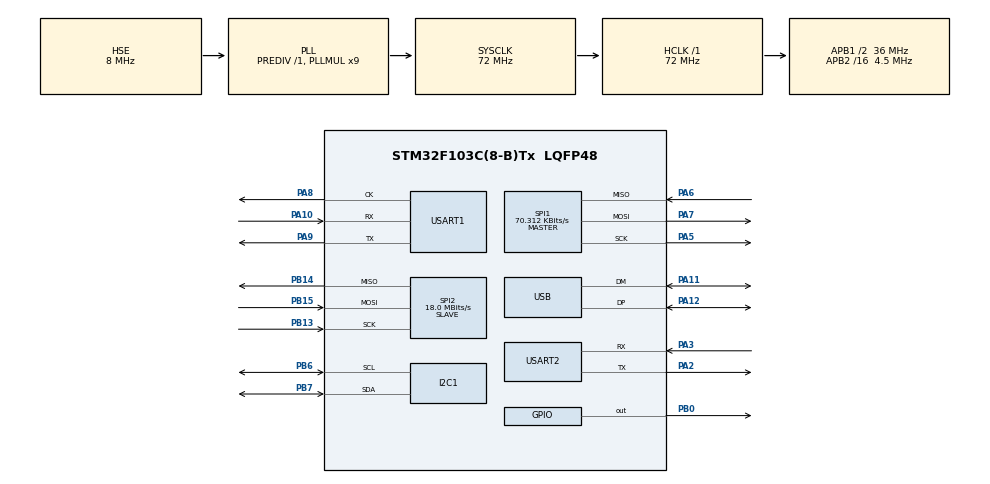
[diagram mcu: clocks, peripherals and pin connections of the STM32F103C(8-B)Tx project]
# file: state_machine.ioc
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Mcu.Family=STM32F1
Mcu.Name=STM32F103C(8-B)Tx
Mcu.Package=LQFP48
NVIC.PriorityGroup=NVIC_PRIORITYGROUP_4
NVIC.USB_LP_CAN1_RX0_IRQn=true\:0\:0\:false\:false\:true\:false
PA10.Mode=Synchronous
PA10.Signal=USART1_RX
PA11.Mode=Device
PA11.Signal=USB_DM
PA12.Mode=Device
PA12.Signal=USB_DP
PA13.Mode=Serial_Wire
PA13.Signal=SYS_JTMS-SWDIO
PA14.Mode=Serial_Wire
PA14.Signal=SYS_JTCK-SWCLK
PA2.Mode=Asynchronous
PA2.Signal=USART2_TX
PA3.Mode=Asynchronous
PA3.Signal=USART2_RX
PA5.Mode=Full_Duplex_Master
PA5.Signal=SPI1_SCK
PA6.Mode=Full_Duplex_Master
PA6.Signal=SPI1_MISO
PA7.GPIO_Speed=GPIO_SPEED_FREQ_HIGH
PA7.Mode=Full_Duplex_Master
PA7.Signal=SPI1_MOSI
PA8.Mode=Synchronous
PA8.Signal=USART1_CK
PA9.Mode=Synchronous
PA9.Signal=USART1_TX
PB0.Signal=GPIO_Output
PB13.Mode=Full_Duplex_Slave
PB13.Signal=SPI2_SCK
PB14.Mode=Full_Duplex_Slave
PB14.Signal=SPI2_MISO
PB15.Mode=Full_Duplex_Slave
PB15.Signal=SPI2_MOSI
PB6.Mode=I2C
PB6.Signal=I2C1_SCL
PB7.Mode=I2C
PB7.Signal=I2C1_SDA
PD0-OSC_IN.Mode=HSE-External-Oscillator
PD0-OSC_IN.Signal=RCC_OSC_IN
PD1-OSC_OUT.Mode=HSE-External-Oscillator
PD1-OSC_OUT.Signal=RCC_OSC_OUT
ProjectManager.HeapSize=0x200
ProjectManager.StackSize=0x400
ProjectManager.TargetToolchain=SW4STM32
RCC.AHBFreq_Value=72000000
RCC.APB1CLKDivider=RCC_HCLK_DIV2
RCC.APB1Freq_Value=36000000
RCC.APB1TimFreq_Value=72000000
RCC.APB2CLKDivider=RCC_HCLK_DIV16
RCC.APB2Freq_Value=4500000
RCC.APB2TimFreq_Value=9000000
RCC.HCLKFreq_Value=72000000
RCC.PLLMUL=RCC_PLL_MUL9
RCC.SYSCLKFreq_VALUE=72000000
RCC.SYSCLKSource=RCC_SYSCLKSOURCE_PLLCLK
RCC.USBFreq_Value=48000000
RCC.USBPrescaler=RCC_USBCLKSOURCE_PLL_DIV1_5
SPI1.BaudRatePrescaler=SPI_BAUDRATEPRESCALER_64
SPI1.CalculateBaudRate=70.312 KBits/s
SPI1.Direction=SPI_DIRECTION_2LINES
SPI1.Mode=SPI_MODE_MASTER
SPI1.VirtualType=VM_MASTER
SPI2.CalculateBaudRate=18.0 MBits/s
SPI2.Direction=SPI_DIRECTION_2LINES
SPI2.Mode=SPI_MODE_SLAVE
SPI2.VirtualType=VM_SLAVE
USART1.VirtualMode=VM_SYNC
USART2.VirtualMode=VM_ASYNC
USB_DEVICE.CLASS_NAME_FS=CDC
USB_DEVICE.VirtualMode=Cdc
USB_DEVICE.VirtualModeFS=Cdc_FS
VP_USB_DEVICE_VS_USB_DEVICE_CDC_FS.Mode=CDC_FS
board=custom

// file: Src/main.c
/**
  ******************************************************************************
  * @file           : main.c
  * @brief          : Main program body
  ******************************************************************************
  * This notice applies to any and all portions of this file
  * that are not between comment pairs USER CODE BEGIN and
  * USER CODE END. Other portions of this file, whether
  * inserted by the user or by software development tools
  * are owned by their respective copyright owners.
  *
  * Copyright (c) 2018 STMicroelectronics International N.V.
  * All rights reserved.
  *
  * Redistribution and use in source and binary forms, with or without
  * modification, are permitted, provided that the following conditions are met:
  *
  * 1. Redistribution of source code must retain the above copyright notice,
  *    this list of conditions and the following disclaimer.
  * 2. Redistributions in binary form must reproduce the above copyright notice,
  *    this list of conditions and the following disclaimer in the documentation
  *    and/or other materials provided with the distribution.
  * 3. Neither the name of STMicroelectronics nor the names of other
  *    contributors to this software may be used to endorse or promote products
  *    derived from this software without specific written permission.
  * 4. This software, including modifications and/or derivative works of this
  *    software, must execute solely and exclusively on microcontroller or
  *    microprocessor devices manufactured by or for STMicroelectronics.
  * 5. Redistribution and use of this software other than as permitted under
  *    this license is void and will automatically terminate your rights under
  *    this license.
  *
  * THIS SOFTWARE IS PROVIDED BY STMICROELECTRONICS AND CONTRIBUTORS "AS IS"
  * AND ANY EXPRESS, IMPLIED OR STATUTORY WARRANTIES, INCLUDING, BUT NOT
  * LIMITED TO, THE IMPLIED WARRANTIES OF MERCHANTABILITY, FITNESS FOR A
  * PARTICULAR PURPOSE AND NON-INFRINGEMENT OF THIRD PARTY INTELLECTUAL PROPERTY
  * RIGHTS ARE DISCLAIMED TO THE FULLEST EXTENT PERMITTED BY LAW. IN NO EVENT
  * SHALL STMICROELECTRONICS OR CONTRIBUTORS BE LIABLE FOR ANY DIRECT, INDIRECT,
  * INCIDENTAL, SPECIAL, EXEMPLARY, OR CONSEQUENTIAL DAMAGES (INCLUDING, BUT NOT
  * LIMITED TO, PROCUREMENT OF SUBSTITUTE GOODS OR SERVICES; LOSS OF USE, DATA,
  * OR PROFITS; OR BUSINESS INTERRUPTION) HOWEVER CAUSED AND ON ANY THEORY OF
  * LIABILITY, WHETHER IN CONTRACT, STRICT LIABILITY, OR TORT (INCLUDING
  * NEGLIGENCE OR OTHERWISE) ARISING IN ANY WAY OUT OF THE USE OF THIS SOFTWARE,
  * EVEN IF ADVISED OF THE POSSIBILITY OF SUCH DAMAGE.
  *
  ******************************************************************************
  */
#include "main.h"
#include "stm32f1xx_hal.h"
#include "usb_device.h"

/* USER CODE BEGIN Includes */
#include "usbd_cdc_if.h"
#include "execute.h"

/* USER CODE END Includes */

I2C_HandleTypeDef hi2c1;

SPI_HandleTypeDef hspi1;
SPI_HandleTypeDef hspi2;

USART_HandleTypeDef husart1;
UART_HandleTypeDef huart2;

/* USER CODE BEGIN PV */
/* Private variables ---------------------------------------------------------*/

/* USER CODE END PV */

void SystemClock_Config(void);
static void MX_GPIO_Init(void);
static void MX_SPI1_Init(void);
static void MX_SPI2_Init(void);
static void MX_I2C1_Init(void);
static void MX_USART1_Init(void);
static void MX_USART2_UART_Init(void);

/* USER CODE BEGIN PFP */
/* Private function prototypes -----------------------------------------------*/
static void MX_SPI_Init(SPI_TypeDef * SPI,int Mode,int Direction,int DataSize,\
		int Polarity,int Phase,int Nss,int Baudrate,int Firstbit,\
		int Spi_Crc);
static void MX_I2C_Init(I2C_TypeDef* I2c,int clockSpeed,int DutyCycle,int AddrMode,int DualAddrMode,\
			int GenCallMode,int NoStrectch);
static void MX_USART_Init(USART_TypeDef* usart,int Baudrate,int Wordlength,int StopBit,\
		int Parity,int Mode\
		,int clkPolarity,int clkPhase,int lastbit);
/* USER CODE END PFP */

/* USER CODE BEGIN 0 */
uint8_t  txBuffer[] ={0x10,0x20,0x30,0x40};
uint8_t  slavetxBuffer[] ={144,0,0,0,0,0};
uint8_t  rxBuffer[20];
uint8_t  slaverxBuffer[4];

/* USER CODE END 0 */

int main(void)
{
  /* USER CODE BEGIN 1 */

	initialise_monitor_handles();

  /* USER CODE END 1 */

  /* MCU Configuration----------------------------------------------------------*/

  /* Reset of all peripherals, Initializes the Flash interface and the Systick. */
  HAL_Init();

  /* Configure the system clock */
  SystemClock_Config();

  /* Initialize all configured peripherals */
  MX_GPIO_Init();
  MX_USB_DEVICE_Init();
  MX_SPI1_Init();
  MX_SPI2_Init();
  MX_I2C1_Init();
  MX_USART1_Init();
  MX_USART2_UART_Init();

  /* Infinite loop */
  /* USER CODE BEGIN WHILE */
  uint8_t value=20;

  while (1)
  {

  /* USER CODE END WHILE */

  /* USER CODE BEGIN 3 */
	  char* result;
	  char* trans;

	  char* type;

	 // HAL_I2C_Master_Transmit(&hi2c1, (0x50<<1), &value, 2,500);

	  HAL_GPIO_WritePin(GPIOB, GPIO_PIN_0, GPIO_PIN_SET);
	  HAL_Delay(30);

		  result = &data;

		  while(dataReady == 1){
			  trans=malloc(10);

			  type= parseAndCompareTable(&result);

			  if(type =="SpiConfig"){
				  MX_SPI_Init(SPI1,spi1Config.Mode,spi1Config.Direction,spi1Config.DataSize,\
						  spi1Config.CLKPolarity,spi1Config.CLKPhase,spi1Config.NSS,spi1Config.BaudRatePrescaler,spi1Config.FirstBit,\
						  spi1Config.CRCCalculation);
			  }
				if(type =="I2cConfig"){
					MX_I2C_Init(I2C1,I2cConfig.ClockSpeed,I2cConfig.DutyCycle,I2cConfig.AddressingMode,I2cConfig.DualAddressMode,\
							I2cConfig.GeneralCallMode,I2cConfig.NoStretchMode);
				}

				if(type =="UsartConfig"){
					 MX_USART_Init(USART1,UsartConfig.BaudRate,UsartConfig.WordLength,UsartConfig.StopBit,\
							UsartConfig.Parity\
							,UsartConfig.Mode,UsartConfig.ClkPolarity,UsartConfig.ClkPhase,UsartConfig.clkLastBit);
				}
			  if(type == "SpiWrite"){
				  HAL_GPIO_WritePin(GPIOB, GPIO_PIN_0, GPIO_PIN_RESET);
					HAL_SPI_TransmitReceive(&hspi1,Send.value,rxBuffer,Send.total,500);
					  trans = getHexString(trans,rxBuffer,Send.total);
			  }
			  if(type == "I2cWrite"){
				  HAL_I2C_Master_Transmit(&hi2c1, I2cV.address, I2cV.value, I2cV.total,500);
			  }
			  if(type == "I2CMemWrite"){
				  HAL_I2C_Mem_Write(&hi2c1,(MemWrite.address<<1),MemWrite.MemAddr,I2C_MEMADD_SIZE_8BIT, &(MemWrite.value),I2C_MEMADD_SIZE_8BIT,500);
			  }
			  if(type =="I2CMemRead"){
				  HAL_I2C_Mem_Read(&hi2c1,(MemRead.address<<1), MemRead.MemAddr,I2C_MEMADD_SIZE_8BIT, slaverxBuffer, 5, 500);
				  sprintf(trans,"%x",slaverxBuffer);
			  }
			  if(type == "UsartSend"){
				 // HAL_USART_TransmitReceive(&huart2, UartV.value,rxBuffer,UartV.total, 500);
				  HAL_UART_Transmit(&huart2, UartV.value,UartV.total, 500);
				  //HAL_Delay(10);
				  HAL_UART_Receive(&huart2, rxBuffer,10, 500);
				  trans = getHexString(trans,rxBuffer,UartV.total);

			  }
			  if(type == "UsartRead"){
				  HAL_USART_Receive(&husart1,rxBuffer,10,500);
				  trans = getHexString(trans,rxBuffer,10);

			  }
			  CDC_Transmit_FS(trans,strlen(trans));
		  		free(trans);
		  		dataReady = 0;
		  		dataNum=0;
		  		memset(data,0,100);
		  		memset(input,0,100);

		  	}

//		  HAL_GPIO_WritePin(GPIOB, GPIO_PIN_0, GPIO_PIN_RESET);

		 // HAL_USART_Transmit(&husart1,UartV.value,UartV.total,500);

  }
  /* USER CODE END 3 */

}

void SystemClock_Config(void)
{

  RCC_OscInitTypeDef RCC_OscInitStruct;
  RCC_ClkInitTypeDef RCC_ClkInitStruct;
  RCC_PeriphCLKInitTypeDef PeriphClkInit;

    /**Initializes the CPU, AHB and APB busses clocks
    */
  RCC_OscInitStruct.OscillatorType = RCC_OSCILLATORTYPE_HSE;
  RCC_OscInitStruct.HSEState = RCC_HSE_ON;
  RCC_OscInitStruct.HSEPredivValue = RCC_HSE_PREDIV_DIV1;
  RCC_OscInitStruct.HSIState = RCC_HSI_ON;
  RCC_OscInitStruct.PLL.PLLState = RCC_PLL_ON;
  RCC_OscInitStruct.PLL.PLLSource = RCC_PLLSOURCE_HSE;
  RCC_OscInitStruct.PLL.PLLMUL = RCC_PLL_MUL9;
  if (HAL_RCC_OscConfig(&RCC_OscInitStruct) != HAL_OK)
  {
    _Error_Handler(__FILE__, __LINE__);
  }

    /**Initializes the CPU, AHB and APB busses clocks
    */
  RCC_ClkInitStruct.ClockType = RCC_CLOCKTYPE_HCLK|RCC_CLOCKTYPE_SYSCLK
                              |RCC_CLOCKTYPE_PCLK1|RCC_CLOCKTYPE_PCLK2;
  RCC_ClkInitStruct.SYSCLKSource = RCC_SYSCLKSOURCE_PLLCLK;
  RCC_ClkInitStruct.AHBCLKDivider = RCC_SYSCLK_DIV1;
  RCC_ClkInitStruct.APB1CLKDivider = RCC_HCLK_DIV2;
  RCC_ClkInitStruct.APB2CLKDivider = RCC_HCLK_DIV16;

  if (HAL_RCC_ClockConfig(&RCC_ClkInitStruct, FLASH_LATENCY_2) != HAL_OK)
  {
    _Error_Handler(__FILE__, __LINE__);
  }

  PeriphClkInit.PeriphClockSelection = RCC_PERIPHCLK_USB;
  PeriphClkInit.UsbClockSelection = RCC_USBCLKSOURCE_PLL_DIV1_5;
  if (HAL_RCCEx_PeriphCLKConfig(&PeriphClkInit) != HAL_OK)
  {
    _Error_Handler(__FILE__, __LINE__);
  }

    /**Configure the Systick interrupt time
    */
  HAL_SYSTICK_Config(HAL_RCC_GetHCLKFreq()/1000);

    /**Configure the Systick
    */
  HAL_SYSTICK_CLKSourceConfig(SYSTICK_CLKSOURCE_HCLK);

  /* SysTick_IRQn interrupt configuration */
  HAL_NVIC_SetPriority(SysTick_IRQn, 0, 0);
}

/* I2C1 init function */
static void MX_I2C1_Init(void)
{

  hi2c1.Instance = I2C1;
  hi2c1.Init.ClockSpeed = 100000;
  hi2c1.Init.DutyCycle = I2C_DUTYCYCLE_2;
  hi2c1.Init.OwnAddress1 = 0;
  hi2c1.Init.AddressingMode = I2C_ADDRESSINGMODE_7BIT;
  hi2c1.Init.DualAddressMode = I2C_DUALADDRESS_DISABLE;
  hi2c1.Init.OwnAddress2 = 0;
  hi2c1.Init.GeneralCallMode = I2C_GENERALCALL_DISABLE;
  hi2c1.Init.NoStretchMode = I2C_NOSTRETCH_DISABLE;
  if (HAL_I2C_Init(&hi2c1) != HAL_OK)
  {
    _Error_Handler(__FILE__, __LINE__);
  }

}

/* SPI1 init function */
static void MX_SPI1_Init(void)
{

  /* SPI1 parameter configuration*/
  hspi1.Instance = SPI1;
  hspi1.Init.Mode = SPI_MODE_MASTER;
  hspi1.Init.Direction = SPI_DIRECTION_2LINES;
  hspi1.Init.DataSize = SPI_DATASIZE_8BIT;
  hspi1.Init.CLKPolarity = SPI_POLARITY_LOW;
  hspi1.Init.CLKPhase = SPI_PHASE_1EDGE;
  hspi1.Init.NSS = SPI_NSS_SOFT;
  hspi1.Init.BaudRatePrescaler = SPI_BAUDRATEPRESCALER_64;
  hspi1.Init.FirstBit = SPI_FIRSTBIT_MSB;
  hspi1.Init.TIMode = SPI_TIMODE_DISABLE;
  hspi1.Init.CRCCalculation = SPI_CRCCALCULATION_DISABLE;
  hspi1.Init.CRCPolynomial = 10;
  if (HAL_SPI_Init(&hspi1) != HAL_OK)
  {
    _Error_Handler(__FILE__, __LINE__);
  }

}

/* SPI2 init function */
static void MX_SPI2_Init(void)
{

  /* SPI2 parameter configuration*/
  hspi2.Instance = SPI2;
  hspi2.Init.Mode = SPI_MODE_SLAVE;
  hspi2.Init.Direction = SPI_DIRECTION_2LINES;
  hspi2.Init.DataSize = SPI_DATASIZE_8BIT;
  hspi2.Init.CLKPolarity = SPI_POLARITY_LOW;
  hspi2.Init.CLKPhase = SPI_PHASE_1EDGE;
  hspi2.Init.NSS = SPI_NSS_SOFT;
  hspi2.Init.BaudRatePrescaler = SPI_BAUDRATEPRESCALER_2;
  hspi2.Init.FirstBit = SPI_FIRSTBIT_MSB;
  hspi2.Init.TIMode = SPI_TIMODE_DISABLE;
  hspi2.Init.CRCCalculation = SPI_CRCCALCULATION_DISABLE;
  hspi2.Init.CRCPolynomial = 10;
  if (HAL_SPI_Init(&hspi2) != HAL_OK)
  {
    _Error_Handler(__FILE__, __LINE__);
  }

}

/* USART1 init function */
static void MX_USART1_Init(void)
{

  husart1.Instance = USART1;
  husart1.Init.BaudRate = 115200;
  husart1.Init.WordLength = USART_WORDLENGTH_8B;
  husart1.Init.StopBits = USART_STOPBITS_1;
  husart1.Init.Parity = USART_PARITY_NONE;
  husart1.Init.Mode = USART_MODE_TX_RX;
  husart1.Init.CLKPolarity = USART_POLARITY_LOW;
  husart1.Init.CLKPhase = USART_PHASE_1EDGE;
  husart1.Init.CLKLastBit = USART_LASTBIT_DISABLE;
  if (HAL_USART_Init(&husart1) != HAL_OK)
  {
    _Error_Handler(__FILE__, __LINE__);
  }

}

/* USART2 init function */
static void MX_USART2_UART_Init(void)
{

  huart2.Instance = USART2;
  huart2.Init.BaudRate = 115200;
  huart2.Init.WordLength = UART_WORDLENGTH_8B;
  huart2.Init.StopBits = UART_STOPBITS_1;
  huart2.Init.Parity = UART_PARITY_NONE;
  huart2.Init.Mode = UART_MODE_TX_RX;
  huart2.Init.HwFlowCtl = UART_HWCONTROL_NONE;
  huart2.Init.OverSampling = UART_OVERSAMPLING_16;
  if (HAL_UART_Init(&huart2) != HAL_OK)
  {
    _Error_Handler(__FILE__, __LINE__);
  }

}

/** Configure pins as
        * Analog
        * Input
        * Output
        * EVENT_OUT
        * EXTI
*/
static void MX_GPIO_Init(void)
{

  GPIO_InitTypeDef GPIO_InitStruct;

  /* GPIO Ports Clock Enable */
  __HAL_RCC_GPIOD_CLK_ENABLE();
  __HAL_RCC_GPIOA_CLK_ENABLE();
  __HAL_RCC_GPIOB_CLK_ENABLE();

  /*Configure GPIO pin Output Level */
  HAL_GPIO_WritePin(GPIOB, GPIO_PIN_0, GPIO_PIN_RESET);

  /*Configure GPIO pin : PB0 */
  GPIO_InitStruct.Pin = GPIO_PIN_0;
  GPIO_InitStruct.Mode = GPIO_MODE_OUTPUT_PP;
  GPIO_InitStruct.Pull = GPIO_NOPULL;
  GPIO_InitStruct.Speed = GPIO_SPEED_FREQ_LOW;
  HAL_GPIO_Init(GPIOB, &GPIO_InitStruct);

}

/* USER CODE BEGIN 4 */
static void MX_SPI_Init(SPI_TypeDef * SPI,int Mode,int Direction,int DataSize,\
		int Polarity,int Phase,int Nss,int Baudrate,int Firstbit,\
		int Spi_Crc)
{

  /* SPI1 parameter configuration*/
  hspi1.Instance = SPI;
  hspi1.Init.Mode = Mode;
  hspi1.Init.Direction = Direction;
  hspi1.Init.DataSize = DataSize;
  hspi1.Init.CLKPolarity = Polarity;
  hspi1.Init.CLKPhase = Phase;
  hspi1.Init.NSS = Nss;
  hspi1.Init.BaudRatePrescaler = Baudrate;
  hspi1.Init.FirstBit = Firstbit;
  hspi1.Init.TIMode = SPI_TIMODE_DISABLE;
  hspi1.Init.CRCCalculation = Spi_Crc;
  hspi1.Init.CRCPolynomial = 10;
  if (HAL_SPI_Init(&hspi1) != HAL_OK)
  {
    _Error_Handler(__FILE__, __LINE__);
  }

}

static void MX_I2C_Init(I2C_TypeDef* I2c,int clockSpeed,int DutyCycle,int AddrMode,int DualAddrMode,\
	int GenCallMode,int NoStrectch)
{

  hi2c1.Instance = I2C1;
  hi2c1.Init.ClockSpeed = clockSpeed;
  hi2c1.Init.DutyCycle = DutyCycle;
  hi2c1.Init.OwnAddress1 = 0;
  hi2c1.Init.AddressingMode = AddrMode;
  hi2c1.Init.DualAddressMode = DualAddrMode;
  hi2c1.Init.OwnAddress2 = 0;
  hi2c1.Init.GeneralCallMode = GenCallMode;
  hi2c1.Init.NoStretchMode = NoStrectch;
  if (HAL_I2C_Init(&hi2c1) != HAL_OK)
  {
    _Error_Handler(__FILE__, __LINE__);
  }

}

static void MX_USART_Init(USART_TypeDef* usart,int Baudrate,int Wordlength,int StopBit,int Parity,int Mode\
		,int clkPolarity,int clkPhase,int lastbit)
{

  husart1.Instance = USART1;
  husart1.Init.BaudRate = Baudrate;
  husart1.Init.WordLength = Wordlength;
  husart1.Init.StopBits = StopBit;
  husart1.Init.Parity = Parity;
  husart1.Init.Mode = Mode;
  husart1.Init.CLKPolarity = clkPolarity;
  husart1.Init.CLKPhase = clkPhase;
  husart1.Init.CLKLastBit = lastbit;
  if (HAL_USART_Init(&husart1) != HAL_OK)
  {
    _Error_Handler(__FILE__, __LINE__);
  }

}

/* USER CODE END 4 */

void _Error_Handler(char *file, int line)
{
  while(1)
  {
  }
}

/************************ (C) COPYRIGHT STMicroelectronics *****END OF FILE****/
